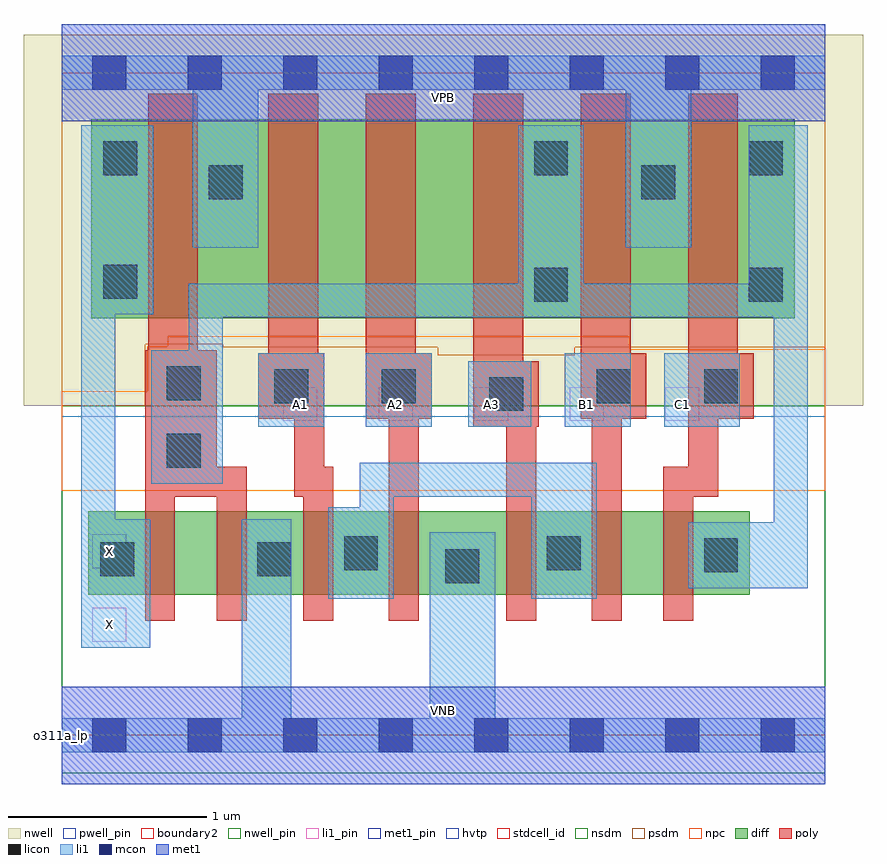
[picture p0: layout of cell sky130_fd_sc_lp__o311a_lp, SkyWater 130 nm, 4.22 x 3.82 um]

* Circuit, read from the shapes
.subckt sky130_fd_sc_lp__o311a_lp A1 A2 A3 B1 C1 VGND VNB VPB VPWR X
XM1 n1 n2 X VNB sky130_fd_pr__nfet_01v8 w=0.42 l=0.15
XM2 VGND n2 n1 VNB sky130_fd_pr__nfet_01v8 w=0.42 l=0.15
XM3 n3 A1 VGND VNB sky130_fd_pr__nfet_01v8 w=0.42 l=0.15
XM4 VGND A2 n3 VNB sky130_fd_pr__nfet_01v8 w=0.42 l=0.15
XM5 n3 A3 VGND VNB sky130_fd_pr__nfet_01v8 w=0.42 l=0.15
XM6 n4 B1 n3 VNB sky130_fd_pr__nfet_01v8 w=0.42 l=0.15
XM7 n2 C1 n4 VNB sky130_fd_pr__nfet_01v8 w=0.42 l=0.15
XM8 VPWR n2 X VPB sky130_fd_pr__pfet_01v8_hvt w=1 l=0.25
XM9 n5 A1 VPWR VPB sky130_fd_pr__pfet_01v8_hvt w=1 l=0.25
XM10 n6 A2 n5 VPB sky130_fd_pr__pfet_01v8_hvt w=1 l=0.25
XM11 n2 A3 n6 VPB sky130_fd_pr__pfet_01v8_hvt w=1 l=0.25
XM12 VPWR B1 n2 VPB sky130_fd_pr__pfet_01v8_hvt w=1 l=0.25
XM13 n2 C1 VPWR VPB sky130_fd_pr__pfet_01v8_hvt w=1 l=0.25
.ends

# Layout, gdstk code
import gdstk
lib = gdstk.Library(unit=1e-6, precision=1e-09)
def R(c, l, rs):  # rectangles x0, y0, x1, y1
    for r in rs: c.add(gdstk.rectangle(r[:2], r[2:], *l))
def A(c, l, x, y, w, h, nx, ny, dx, dy):  # array of equal rectangles
    R(c, l, [(x+i*dx, y+j*dy, x+i*dx+w, y+j*dy+h) for i in range(nx) for j in range(ny)])
def P(c, l, *ps):  # polygons
    for p in ps: c.add(gdstk.Polygon(p, *l))
nwell_pin = (64, 16)
nwell = (64, 20)
diff = (65, 20)
poly = (66, 20)
licon = (66, 44)
li1_pin = (67, 16)
li1 = (67, 20)
mcon = (67, 44)
met1_pin = (68, 16)
met1 = (68, 20)
hvtp = (78, 44)
stdcell_id = (81, 4)
nsdm = (93, 44)
psdm = (94, 20)
npc = (95, 20)
pwell_pin = (122, 16)
boundary2 = (236, 0)

sky130_fd_sc_lp__o311a_l = lib.new_cell('sky130_fd_sc_lp__o311a_lp')
R(sky130_fd_sc_lp__o311a_l, nwell_pin, [(0,3.085,3.84,3.33)])
R(sky130_fd_sc_lp__o311a_l, nwell, [(-0.19,1.655,4.03,3.52)])
R(sky130_fd_sc_lp__o311a_l, diff, [(0.135,0.705,3.46,1.125), (0.15,2.095,3.685,3.095)])
P(sky130_fd_sc_lp__o311a_l, poly, [(0.93,1.35),(0.78,1.35),(0.78,1.935),(0.685,1.935),(0.685,3.225),(0.435,3.225),(0.435,1.935),(0.42,1.935),(0.42,0.575),(0.57,0.575),(0.57,1.2),(0.78,1.2),(0.78,0.575),(0.93,0.575)],
  [(1.365,1.35),(1.32,1.35),(1.32,1.92),(1.29,1.92),(1.29,3.225),(1.04,3.225),(1.04,1.92),(0.99,1.92),(0.99,1.59),(1.17,1.59),(1.17,1.2),(1.215,1.2),(1.215,0.575),(1.365,0.575)],
  [(1.86,1.92),(1.78,1.92),(1.78,3.225),(1.53,3.225),(1.53,1.59),(1.645,1.59),(1.645,0.575),(1.795,0.575),(1.795,1.59),(1.86,1.59)],
  [(2.4,1.88),(2.32,1.88),(2.32,3.225),(2.07,3.225),(2.07,1.55),(2.235,1.55),(2.235,0.575),(2.385,0.575),(2.385,1.55),(2.4,1.55)],
  [(2.94,1.92),(2.86,1.92),(2.86,3.225),(2.61,3.225),(2.61,1.59),(2.665,1.59),(2.665,0.575),(2.815,0.575),(2.815,1.59),(2.94,1.59)],
  [(3.48,1.92),(3.4,1.92),(3.4,3.225),(3.15,3.225),(3.15,1.35),(3.025,1.35),(3.025,0.575),(3.175,0.575),(3.175,1.2),(3.3,1.2),(3.3,1.59),(3.48,1.59)])
R(sky130_fd_sc_lp__o311a_l, licon, [(1.93,0.765,2.1,0.935), (0.195,0.8,0.365,0.97), (0.985,0.8,1.155,0.97), (3.23,0.82,3.4,0.99), (1.42,0.83,1.59,1), (2.44,0.83,2.61,1), (0.53,1.345,0.7,1.515), (2.15,1.63,2.32,1.8), (1.07,1.67,1.24,1.84), (1.61,1.67,1.78,1.84), (2.69,1.67,2.86,1.84), (3.23,1.67,3.4,1.84), (0.53,1.685,0.7,1.855), (2.375,2.18,2.545,2.35), (3.455,2.18,3.625,2.35), (0.21,2.195,0.38,2.365), (0.74,2.695,0.91,2.865), (2.915,2.695,3.085,2.865), (0.21,2.815,0.38,2.985), (2.375,2.815,2.545,2.985), (3.455,2.815,3.625,2.985)])
A(sky130_fd_sc_lp__o311a_l, li1_pin, 1.115, 1.58, 0.17, 0.17, 5, 1, 0.48, 0)
R(sky130_fd_sc_lp__o311a_l, li1_pin, [(0.155,0.47,0.325,0.64), (0.155,0.84,0.325,1.01)])
R(sky130_fd_sc_lp__o311a_l, li1, [(0.99,1.55,1.32,1.92), (1.53,1.55,1.86,1.92), (2.045,1.55,2.36,1.88), (2.53,1.55,2.86,1.92), (3.03,1.55,3.41,1.92)])
P(sky130_fd_sc_lp__o311a_l, li1, [(2.835,2.45),(2.835,3.245),(0.99,3.245),(0.99,2.45),(0.66,2.45),(0.66,3.245),(0,3.245),(0,3.415),(3.84,3.415),(3.84,3.245),(3.165,3.245),(3.165,2.45)],
  [(1.85,0.085),(1.85,1.02),(2.18,1.02),(2.18,0.085),(3.84,0.085),(3.84,-0.085),(0,-0.085),(0,0.085),(0.905,0.085),(0.905,1.085),(1.155,1.085),(1.155,0.085)],
  [(1.5,1.37),(2.69,1.37),(2.69,0.685),(2.36,0.685),(2.36,1.2),(1.67,1.2),(1.67,0.685),(1.34,0.685),(1.34,1.145),(1.5,1.145)],
  [(0.64,1.935),(0.64,2.27),(2.295,2.27),(2.295,3.065),(2.625,3.065),(2.625,2.27),(3.455,2.27),(3.455,3.065),(3.75,3.065),(3.75,0.74),(3.15,0.74),(3.15,1.07),(3.58,1.07),(3.58,2.1),(0.81,2.1),(0.81,1.265),(0.45,1.265),(0.45,1.935)],
  [(0.1,3.065),(0.46,3.065),(0.46,2.115),(0.27,2.115),(0.27,1.085),(0.445,1.085),(0.445,0.44),(0.1,0.44)])
A(sky130_fd_sc_lp__o311a_l, mcon, 0.155, -0.085, 0.17, 0.17, 8, 2, 0.48, 3.33)
R(sky130_fd_sc_lp__o311a_l, met1_pin, [(0,0,3.84,0.245), (0,3.085,3.84,3.33)])
R(sky130_fd_sc_lp__o311a_l, met1, [(0,-0.245,3.84,0.245), (0,3.085,3.84,3.575)])
R(sky130_fd_sc_lp__o311a_l, hvtp, [(0,1.6,3.84,3.33)])
R(sky130_fd_sc_lp__o311a_l, stdcell_id, [(0,0,3.84,3.33)])
R(sky130_fd_sc_lp__o311a_l, nsdm, [(0,-0.19,3.84,1.655)])
P(sky130_fd_sc_lp__o311a_l, psdm, [(3.84,3.52),(0,3.52),(0,1.655),(0.42,1.655),(0.42,1.965),(0.81,1.965),(0.81,1.95),(1.89,1.95),(1.89,1.91),(2.58,1.91),(2.58,1.95),(3.84,1.95)])
P(sky130_fd_sc_lp__o311a_l, npc, [(3.84,1.94),(2.855,1.94),(2.855,2.005),(0.535,2.005),(0.535,1.955),(0.43,1.955),(0.43,1.73),(0,1.73),(0,1.23),(3.84,1.23)])
R(sky130_fd_sc_lp__o311a_l, pwell_pin, [(0,0,3.84,0.245)])
R(sky130_fd_sc_lp__o311a_l, boundary2, [(0,0,3.84,3.33)])
sky130_fd_sc_lp__o311a_l.add(gdstk.Label('VNB', (1.92,0.123), layer=64, texttype=59))
sky130_fd_sc_lp__o311a_l.add(gdstk.Label('VPB', (1.92,3.208), layer=64, texttype=5))
sky130_fd_sc_lp__o311a_l.add(gdstk.Label('o311a_lp', (0,0), layer=83, texttype=44))
sky130_fd_sc_lp__o311a_l.add(gdstk.Label('VPWR', (1.92,3.208), layer=68, texttype=5))
sky130_fd_sc_lp__o311a_l.add(gdstk.Label('VGND', (1.92,0.123), layer=68, texttype=5))
sky130_fd_sc_lp__o311a_l.add(gdstk.Label('C1', (3.12,1.665), layer=67, texttype=5))
sky130_fd_sc_lp__o311a_l.add(gdstk.Label('B1', (2.64,1.665), layer=67, texttype=5))
sky130_fd_sc_lp__o311a_l.add(gdstk.Label('A3', (2.16,1.665), layer=67, texttype=5))
sky130_fd_sc_lp__o311a_l.add(gdstk.Label('A1', (1.2,1.665), layer=67, texttype=5))
sky130_fd_sc_lp__o311a_l.add(gdstk.Label('A2', (1.68,1.665), layer=67, texttype=5))
sky130_fd_sc_lp__o311a_l.add(gdstk.Label('X', (0.24,0.555), layer=67, texttype=5))
sky130_fd_sc_lp__o311a_l.add(gdstk.Label('X', (0.24,0.925), layer=67, texttype=5))

lib.write_gds('sky130_fd_sc_lp__o311a_lp.gds')
